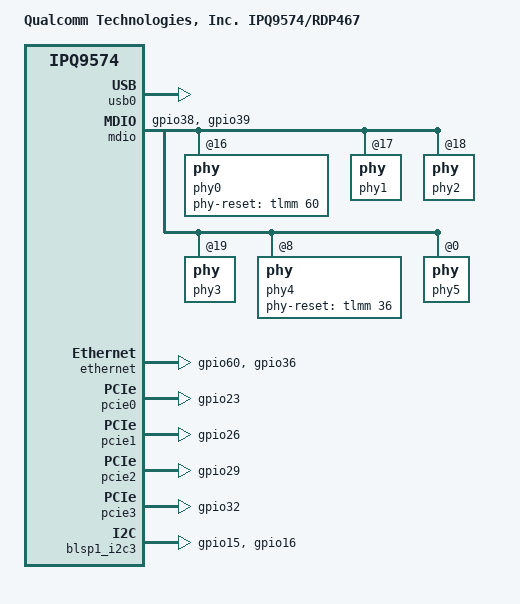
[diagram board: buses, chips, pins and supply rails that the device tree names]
// SPDX-License-Identifier: GPL-2.0-only
/*
 * Copyright (c) Qualcomm Technologies, Inc. and/or its subsidiaries.
 */

/dts-v1/;

#include "ipq9574-rdp-common.dtsi"
#include "ipq9574-rdp-common-ub.dtsi"

/ {
	model = "Qualcomm Technologies, Inc. IPQ9574/RDP467";
	compatible = "qcom,ipq9574-RDP467", "qcom,ipq9574";

	soc@0 {
		qmp_ssphy_0: ssphy@7D000 {
			status = "okay";
		};

		qusb2_phy_0: qusb2@7B000 {
			status = "okay";
		};

		usb0: usb@8af8800 {
			status = "okay";

			dwc3@8a00000 {
				phys = <&qusb2_phy_0>, <&qmp_ssphy_0>;
				phy-names = "usb2-phy", "usb3-phy";
				maximum-speed = "super-speed";
			};
		};

		mdio: mdio@90000 {
			pinctrl-names = "default";
			pinctrl-0 = <&mdio_pinmux>;
			status = "okay";

			phy0: phy@16 {
				phy-reset-gpio = <&tlmm 60 0>;
				phy_addr = <16>;
				phy_type = <QCA8075_PHY_TYPE>;
				id = <1>;
				uniphy_id = <0>;
				uniphy_type = <0>;
			};

			phy1: phy@17 {
				phy_addr = <17>;
				phy_type = <QCA8075_PHY_TYPE>;
				id = <2>;
				uniphy_id = <0>;
				uniphy_type = <0>;
			};

			phy2: phy@18 {
				phy_addr = <18>;
				phy_type = <QCA8075_PHY_TYPE>;
				id = <3>;
				uniphy_id = <0>;
				uniphy_type = <0>;
			};

			phy3: phy@19 {
				phy_addr = <19>;
				phy_type = <QCA8075_PHY_TYPE>;
				id = <4>;
				uniphy_id = <0>;
				uniphy_type = <0>;
			};

			phy4: phy@8 {
				phy-reset-gpio = <&tlmm 36 0>;
				phy_addr = <8>;
				phy_type = <AQ_PHY_TYPE>;
				phy-mode = "usxgmii";
				id = <5>;
				uniphy_id = <1>;
				uniphy_type = <1>;
				xgmac;
			};

			phy5: phy@0 {
				phy_addr = <0>;
				phy_type = <AQ_PHY_TYPE>;
				phy-mode = "usxgmii";
				id = <6>;
				uniphy_id = <2>;
				uniphy_type = <0>;
				xgmac;
			};
		};

		ethernet: nss-switch {
			pinctrl-names = "default";
			pinctrl-0 = <&phy_rst_pinmux>;
			phy-handle0 = <&phy0>;
			phy-handle1 = <&phy1>;
			phy-handle2 = <&phy2>;
			phy-handle3 = <&phy3>;
			phy-handle4 = <&phy4>;
			phy-handle5 = <&phy5>;
			status = "okay";
		};

		pcie0: pci@28000000 {
			pinctrl-names = "default";
			pinctrl-0 = <&pci0_pin>;
			status = "okay";
			perst-gpios = <&tlmm 23 GPIO_ACTIVE_LOW>;
		};

		pcie1: pci@10000000 {
			pinctrl-names = "default";
			pinctrl-0 = <&pci1_pin>;
			status = "okay";
			perst-gpios = <&tlmm 26 GPIO_ACTIVE_LOW>;
		};

		pcie2: pci@20000000 {
			pinctrl-names = "default";
			pinctrl-0 = <&pci2_pin>;
			status = "okay";
			perst-gpios = <&tlmm 29 GPIO_ACTIVE_LOW>;
		};

		pcie3: pci@18000000 {
			pinctrl-names = "default";
			pinctrl-0 = <&pci3_pin>;
			status = "okay";
			perst-gpios = <&tlmm 32 GPIO_ACTIVE_LOW>;
		};
	};
};

&blsp1_i2c3 {
	pinctrl-names = "default";
	pinctrl-0 = <&blsp1_i2c3_pinmux>;
	status = "okay";
};

&tlmm {
	mdio_pinmux: mdio {
		mdc {
			pins = "gpio38";
			function = "mdc";
			drive-strength = <8>;
			bias-disable;
		};

		mdio {
			pins = "gpio39";
			function = "mdio";
			drive-strength = <8>;
			bias-pull-up;
		};
	};

	phy_rst_pinmux: phy_rst {
		qti_8085_rst {
			pins = "gpio60";
			drive-strength = <8>;
			bias-pull-up;
		};

		qti_aquantia_rst {
			pins = "gpio36";
			drive-strength = <8>;
			bias-pull-up;
		};
	};

	pci0_pin: pci0-default-state {
		pins = "gpio23";
		function = "gpio";
		drive-strength = <8>;
		bias-pull-up;
		output-low;
	};

	pci1_pin: pci1-default-state {
		pins = "gpio26";
		function = "gpio";
		drive-strength = <8>;
		bias-pull-up;
		output-low;
	};

	pci2_pin: pci2-default-state {
		pins = "gpio29";
		function = "gpio";
		drive-strength = <8>;
		bias-pull-up;
		output-low;
	};

	pci3_pin: pci3-default-state {
		pins = "gpio32";
		function = "gpio";
		drive-strength = <8>;
		bias-pull-up;
		output-low;
	};

	blsp1_i2c3_pinmux: blsp_i2c3_pins {
		blsp3_scl {
			pins = "gpio15";
			function = "blsp3_i2c";
			drive-strength = <8>;
			bias-pull-up;
		};

		blsp3_sda {
			pins = "gpio16";
			function = "blsp3_i2c";
			drive-strength = <8>;
			bias-pull-up;
		};
	};
};
